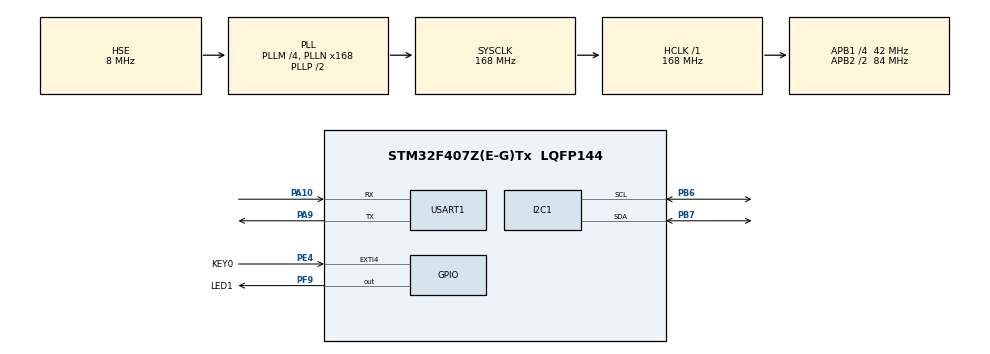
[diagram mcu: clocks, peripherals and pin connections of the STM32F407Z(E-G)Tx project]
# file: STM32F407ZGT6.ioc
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Mcu.Family=STM32F4
Mcu.Name=STM32F407Z(E-G)Tx
Mcu.Package=LQFP144
NVIC.EXTI4_IRQn=true\:0\:0\:false\:false\:true\:true\:true
NVIC.I2C1_EV_IRQn=true\:0\:0\:false\:false\:true\:true\:true
NVIC.PriorityGroup=NVIC_PRIORITYGROUP_4
PA10.Mode=Asynchronous
PA10.Signal=USART1_RX
PA13.Mode=Serial_Wire
PA13.Signal=SYS_JTMS-SWDIO
PA14.Mode=Serial_Wire
PA14.Signal=SYS_JTCK-SWCLK
PA9.Mode=Asynchronous
PA9.Signal=USART1_TX
PB6.GPIO_Pu=GPIO_PULLUP
PB6.Mode=I2C
PB6.Signal=I2C1_SCL
PB7.GPIO_Pu=GPIO_PULLUP
PB7.Mode=I2C
PB7.Signal=I2C1_SDA
PC14-OSC32_IN.Mode=LSE-External-Oscillator
PC14-OSC32_IN.Signal=RCC_OSC32_IN
PC15-OSC32_OUT.Mode=LSE-External-Oscillator
PC15-OSC32_OUT.Signal=RCC_OSC32_OUT
PE4.GPIO_Label=KEY0
PE4.GPIO_ModeDefaultEXTI=GPIO_MODE_IT_FALLING
PE4.GPIO_PuPd=GPIO_PULLUP
PE4.Signal=GPXTI4
PF9.GPIO_Label=LED1
PF9.Signal=GPIO_Output
PH0-OSC_IN.Mode=HSE-External-Oscillator
PH0-OSC_IN.Signal=RCC_OSC_IN
PH1-OSC_OUT.Mode=HSE-External-Oscillator
PH1-OSC_OUT.Signal=RCC_OSC_OUT
ProjectManager.HeapSize=0x200
ProjectManager.StackSize=0x1000
ProjectManager.TargetToolchain=MDK-ARM V5.32
RCC.48MHZClocksFreq_Value=112000000
RCC.AHBFreq_Value=168000000
RCC.APB1CLKDivider=RCC_HCLK_DIV4
RCC.APB1Freq_Value=42000000
RCC.APB1TimFreq_Value=84000000
RCC.APB2CLKDivider=RCC_HCLK_DIV2
RCC.APB2Freq_Value=84000000
RCC.APB2TimFreq_Value=168000000
RCC.CortexFreq_Value=168000000
RCC.HCLKFreq_Value=168000000
RCC.HSE_VALUE=8000000
RCC.HSI_VALUE=16000000
RCC.PLLM=4
RCC.PLLN=168
RCC.PLLQ=3
RCC.PLLSourceVirtual=RCC_PLLSOURCE_HSE
RCC.RCC_RTC_Clock_Source=RCC_RTCCLKSOURCE_LSE
RCC.RCC_RTC_Clock_SourceVirtual=RCC_RTCCLKSOURCE_LSE
RCC.SYSCLKFreq_VALUE=168000000
RCC.SYSCLKSource=RCC_SYSCLKSOURCE_PLLCLK
RCC.VCOOutputFreq_Value=336000000
USART1.VirtualMode=VM_ASYNC
board=custom

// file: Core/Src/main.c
/* USER CODE BEGIN Header */
/**
 ******************************************************************************
 * @file           : main.c
 * @brief          : Main program body
 ******************************************************************************
 * @attention
 *
 * Copyright (c) 2021 STMicroelectronics.
 * All rights reserved.
 *
 * This software is licensed under terms that can be found in the LICENSE file
 * in the root directory of this software component.
 * If no LICENSE file comes with this software, it is provided AS-IS.
 *
 ******************************************************************************
 */
/* USER CODE END Header */
#include "main.h"
#include "i2c.h"
#include "usart.h"
#include "gpio.h"

/* USER CODE BEGIN Includes */
#include <stdio.h>
#include <setjmp.h>

/* USER CODE END Includes */

/* USER CODE BEGIN PD */
#define WHO_AM_I_REG 0x75
#define MPU6050_ADDR 0xd0
#define MPU6050_ID 0x68
/* USER CODE END PD */

/* USER CODE BEGIN PV */
uint8_t TBuffer[10];
uint8_t RBuffer[10];
uint8_t flagexti;

/* USER CODE END PV */

void SystemClock_Config(void);

int main(void)
{

  /* MCU Configuration--------------------------------------------------------*/

  /* Reset of all peripherals, Initializes the Flash interface and the Systick. */
  HAL_Init();

  /* Configure the system clock */
  SystemClock_Config();

  /* Initialize all configured peripherals */
  MX_GPIO_Init();
  MX_USART1_UART_Init();
  MX_I2C1_Init();
  /* USER CODE BEGIN 2 */
  //  char a[1] = {0};
  //  scanf("%c", a);
  //  printf("Hello World!\r\n");

  //  if (HAL_I2C_Mem_Read(&hi2c1, MPU6050_ADDR, WHO_AM_I_REG, 1, &check, 1, 1000) == HAL_OK)
  //  {
  //    printf("OK: %x.\r\n", check);
  //  }

  /* USER CODE END 2 */

  /* Infinite loop */
  while (1)
  {

  }
}

void SystemClock_Config(void)
{
  RCC_OscInitTypeDef RCC_OscInitStruct = {0};
  RCC_ClkInitTypeDef RCC_ClkInitStruct = {0};

  /** Configure the main internal regulator output voltage
  */
  __HAL_RCC_PWR_CLK_ENABLE();
  __HAL_PWR_VOLTAGESCALING_CONFIG(PWR_REGULATOR_VOLTAGE_SCALE1);
  /** Initializes the RCC Oscillators according to the specified parameters
  * in the RCC_OscInitTypeDef structure.
  */
  RCC_OscInitStruct.OscillatorType = RCC_OSCILLATORTYPE_HSE;
  RCC_OscInitStruct.HSEState = RCC_HSE_ON;
  RCC_OscInitStruct.PLL.PLLState = RCC_PLL_ON;
  RCC_OscInitStruct.PLL.PLLSource = RCC_PLLSOURCE_HSE;
  RCC_OscInitStruct.PLL.PLLM = 4;
  RCC_OscInitStruct.PLL.PLLN = 168;
  RCC_OscInitStruct.PLL.PLLP = RCC_PLLP_DIV2;
  RCC_OscInitStruct.PLL.PLLQ = 3;
  if (HAL_RCC_OscConfig(&RCC_OscInitStruct) != HAL_OK)
  {
    Error_Handler();
  }
  /** Initializes the CPU, AHB and APB buses clocks
  */
  RCC_ClkInitStruct.ClockType = RCC_CLOCKTYPE_HCLK|RCC_CLOCKTYPE_SYSCLK
                              |RCC_CLOCKTYPE_PCLK1|RCC_CLOCKTYPE_PCLK2;
  RCC_ClkInitStruct.SYSCLKSource = RCC_SYSCLKSOURCE_PLLCLK;
  RCC_ClkInitStruct.AHBCLKDivider = RCC_SYSCLK_DIV1;
  RCC_ClkInitStruct.APB1CLKDivider = RCC_HCLK_DIV4;
  RCC_ClkInitStruct.APB2CLKDivider = RCC_HCLK_DIV2;

  if (HAL_RCC_ClockConfig(&RCC_ClkInitStruct, FLASH_LATENCY_5) != HAL_OK)
  {
    Error_Handler();
  }
}

/* USER CODE BEGIN 4 */
int fputc(int ch, FILE *f)
{
  HAL_UART_Transmit(&huart1, (uint8_t *)&ch, 1, 0xffff);
  return ch;
}
int fgetc(FILE *f)
{
  uint8_t ch = 0;
  HAL_UART_Receive(&huart1, &ch, 1, 0xffff);
  return ch;
}

void HAL_GPIO_EXTI_Callback(uint16_t GPIO_Pin)
{
  HAL_GPIO_TogglePin(LED1_GPIO_Port, LED1_Pin);
	uint8_t check = 0;
	//HAL_I2C_Master_Transmit(&hi2c1, 0x60, &check, 1, 100);
	if (HAL_I2C_Mem_Read(&hi2c1, 0x60, WHO_AM_I_REG, 1, &check, 1, 1000) == HAL_OK)
	{}
//	{
//		//printf("OK: %x.\r\n", check);
//	}
}

/* USER CODE END 4 */

void Error_Handler(void)
{
  __disable_irq();
  while (1)
  {
  }
}
